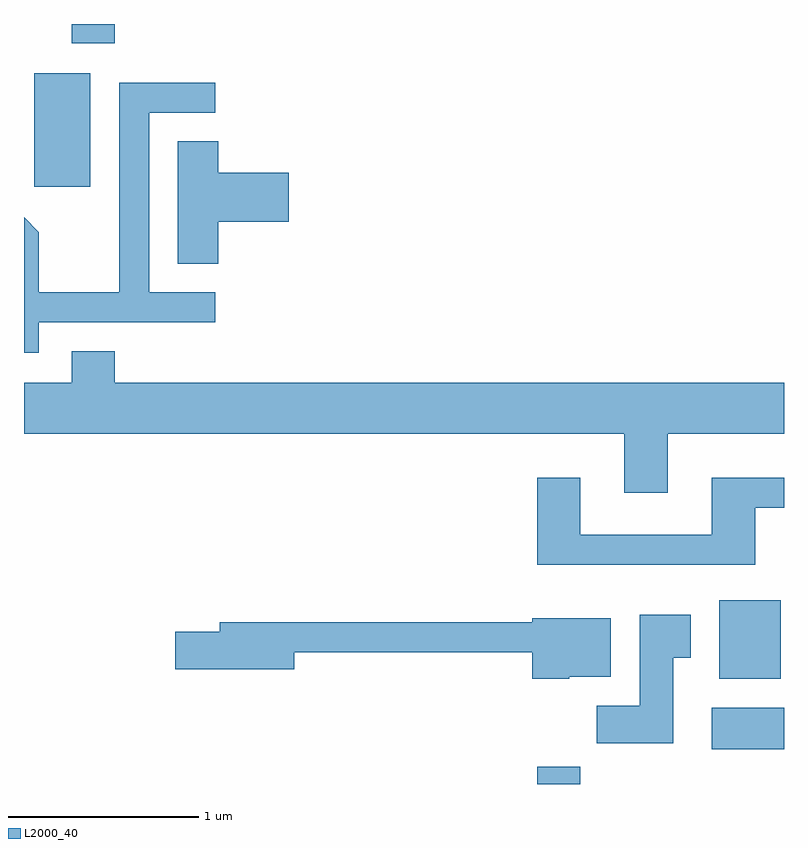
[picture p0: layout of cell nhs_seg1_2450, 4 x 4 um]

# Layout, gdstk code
import gdstk
lib = gdstk.Library(unit=1e-6, precision=1e-09)
def R(c, l, rs):  # rectangles x0, y0, x1, y1
    for r in rs: c.add(gdstk.rectangle(r[:2], r[2:], *l))
def P(c, l, *ps):  # polygons
    for p in ps: c.add(gdstk.Polygon(p, *l))
L2000_40 = (2000, 40)

nhs_seg1_2450 = lib.new_cell('nhs_seg1_2450')
R(nhs_seg1_2450, L2000_40, [(262.311,917.712,262.539,917.804), (263.231,917.896,263.611,918.114), (263.271,918.266,263.594,918.679), (259.666,920.856,259.959,921.454), (259.861,921.611,260.089,921.712)])
P(nhs_seg1_2450, L2000_40, [(259.689,920.141),(260.618,920.141),(260.618,920.299),(260.269,920.299),(260.269,921.246),(260.618,921.246),(260.618,921.404),(260.111,921.404),(260.111,920.299),(259.689,920.299),(259.689,920.617),(259.611,920.695),(259.611,919.981),(259.689,919.981)],
  [(260.634,920.671),(261.004,920.671),(261.004,920.929),(260.634,920.929),(260.634,921.094),(260.421,921.094),(260.421,920.451),(260.634,920.451)],
  [(262.999,919.556),(263.611,919.556),(263.611,919.824),(260.089,919.824),(260.089,919.989),(259.861,919.989),(259.861,919.824),(259.611,919.824),(259.611,919.556),(262.771,919.556),(262.771,919.246),(262.999,919.246)],
  [(263.459,919.166),(263.611,919.166),(263.611,919.324),(263.231,919.324),(263.231,919.024),(262.539,919.024),(262.539,919.324),(262.311,919.324),(262.311,918.866),(263.459,918.866)],
  [(263.029,918.376),(263.119,918.376),(263.119,918.604),(262.851,918.604),(262.851,918.124),(262.626,918.124),(262.626,917.926),(263.029,917.926)],
  [(262.48,918.276),(262.699,918.276),(262.699,918.584),(262.286,918.584),(262.286,918.564),(260.641,918.564),(260.641,918.514),(260.406,918.514),(260.406,918.316),(261.034,918.316),(261.034,918.406),(262.286,918.406),(262.286,918.266),(262.48,918.266)])

lib.write_gds('nhs_seg1_2450.gds')
